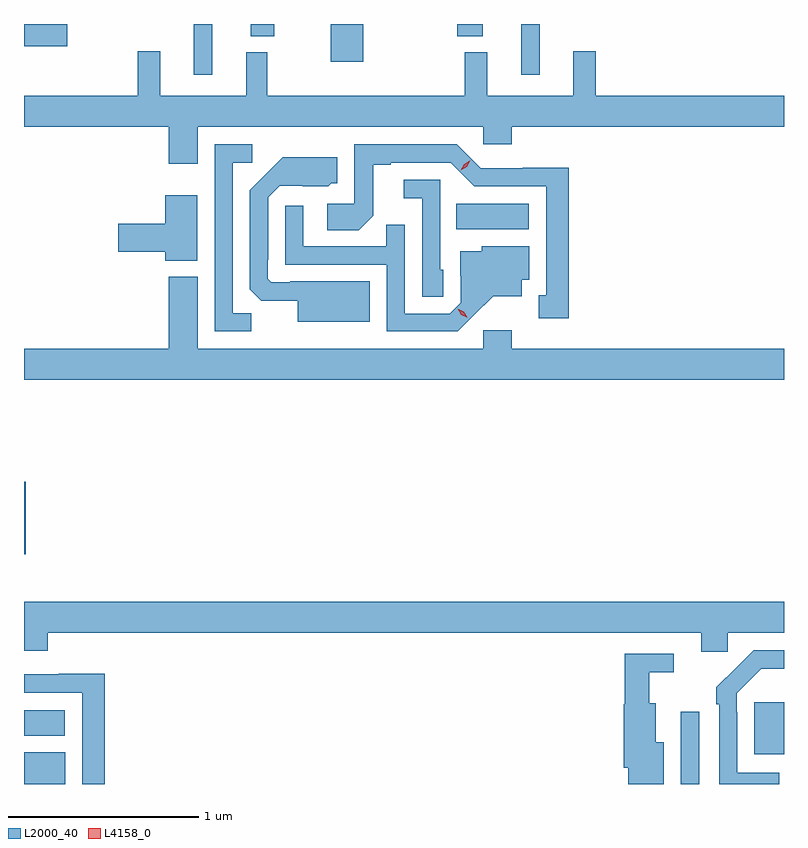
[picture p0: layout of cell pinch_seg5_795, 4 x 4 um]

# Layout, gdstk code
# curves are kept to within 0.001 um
import gdstk
lib = gdstk.Library(unit=1e-6, precision=1e-09)
def R(c, l, rs):  # rectangles x0, y0, x1, y1
    for r in rs: c.add(gdstk.rectangle(r[:2], r[2:], *l))
def P(c, l, *ps):  # polygons
    for p in ps: c.add(gdstk.Polygon(p, *l))
L2000_40 = (2000, 40)
L4158_0 = (4158, 0)

pinch_seg5_795 = lib.new_cell('pinch_seg5_795')
R(pinch_seg5_795, L2000_40, [(758.024,909.245,758.242,909.412), (761.481,909.245,761.577,909.625), (761.867,909.401,762.024,909.676), (758.024,909.5,758.239,909.634), (758.024,910.455,758.033,910.836), (760.3,912.164,760.681,912.298), (758.918,912.978,759.015,913.245), (760.641,912.978,760.738,913.245), (759.638,913.047,759.809,913.245), (758.024,913.127,758.251,913.245), (759.218,913.181,759.34,913.245), (760.304,913.181,760.438,913.245)])
P(pinch_seg5_795, L2000_40, [(758.938,912.704),(760.44,912.704),(760.44,912.611),(760.592,912.611),(760.592,912.704),(762.024,912.704),(762.024,912.868),(761.033,912.868),(761.033,913.102),(760.916,913.102),(760.916,912.868),(760.463,912.868),(760.463,913.096),(760.345,913.096),(760.345,912.868),(759.304,912.868),(759.304,913.096),(759.194,913.096),(759.194,912.868),(758.741,912.868),(758.741,913.102),(758.623,913.102),(758.623,912.868),(758.024,912.868),(758.024,912.704),(758.786,912.704),(758.786,912.51),(758.938,912.51)],
  [(760.891,912.488),(760.65,912.488),(760.65,912.486),(760.428,912.486),(760.302,912.612),(759.762,912.612),(759.762,912.3),(759.621,912.3),(759.621,912.16),(759.785,912.16),(759.861,912.236),(759.861,912.504),(759.955,912.504),(759.955,912.516),(760.269,912.516),(760.395,912.39),(760.772,912.39),(760.772,911.817),(760.733,911.817),(760.733,911.697),(760.891,911.697)],
  [(759.219,911.723),(759.123,911.723),(759.123,912.516),(759.226,912.516),(759.226,912.612),(759.027,912.612),(759.027,911.628),(759.219,911.628)],
  [(759.844,911.89),(759.424,911.89),(759.424,911.886),(759.324,911.886),(759.306,911.904),(759.306,912.004),(759.309,912.004),(759.309,912.333),(759.369,912.393),(759.626,912.392),(759.642,912.408),(759.673,912.408),(759.673,912.544),(759.385,912.544),(759.213,912.37),(759.213,911.848),(759.272,911.789),(759.464,911.789),(759.464,911.678),(759.844,911.678)],
  [(760.23,911.952),(760.215,911.952),(760.215,912.426),(760.023,912.426),(760.023,912.329),(760.119,912.329),(760.119,911.809),(760.23,911.809)],
  [(758.935,912.343),(758.768,912.343),(758.768,912.194),(758.52,912.194),(758.52,912.047),(758.768,912.047),(758.768,911.999),(758.935,911.999)],
  [(760.39,911.711),(760.493,911.813),(760.645,911.813),(760.645,911.9),(760.684,911.9),(760.684,912.076),(760.434,912.076),(760.434,912.049),(760.319,912.049),(760.319,911.92),(760.323,911.92),(760.323,911.778),(760.266,911.721),(760.029,911.721),(760.029,912.188),(759.931,912.188),(759.931,912.075),(759.495,912.075),(759.495,912.289),(759.399,912.289),(759.399,911.979),(759.933,911.979),(759.933,911.628),(760.306,911.628)],
  [(762.024,911.536),(760.592,911.536),(760.592,911.632),(760.44,911.632),(760.44,911.536),(758.938,911.536),(758.938,911.914),(758.786,911.914),(758.786,911.536),(758.024,911.536),(758.024,911.372),(762.024,911.372)],
  [(761.727,910.04),(762.024,910.04),(762.024,910.204),(758.024,910.204),(758.024,909.947),(758.15,909.947),(758.15,910.04),(761.588,910.04),(761.588,909.942),(761.727,909.942)],
  [(761.998,909.303),(761.778,909.303),(761.778,909.623),(761.775,909.623),(761.775,909.723),(761.904,909.852),(762.024,909.852),(762.024,909.948),(761.864,909.948),(761.667,909.753),(761.667,909.665),(761.682,909.665),(761.682,909.245),(761.998,909.245)],
  [(761.392,909.466),(761.35,909.466),(761.35,909.67),(761.314,909.67),(761.314,909.833),(761.443,909.833),(761.443,909.93),(761.185,909.93),(761.185,909.666),(761.18,909.666),(761.18,909.33),(761.204,909.33),(761.204,909.245),(761.392,909.245)],
  [(758.449,909.824),(758.208,909.824),(758.208,909.822),(758.024,909.822),(758.024,909.726),(758.33,909.726),(758.33,909.245),(758.449,909.245)])
P(pinch_seg5_795, L4158_0, [(760.323,912.476),(760.323,912.476),(760.34,912.508),(760.372,912.528),(760.372,912.528),(760.372,912.527),(760.355,912.495),(760.323,912.476)],
  [(760.355,911.701),(760.325,911.716),(760.308,911.746),(760.308,911.746),(760.308,911.746),(760.338,911.731),(760.356,911.701),(760.356,911.701)])

lib.write_gds('pinch_seg5_795.gds')
